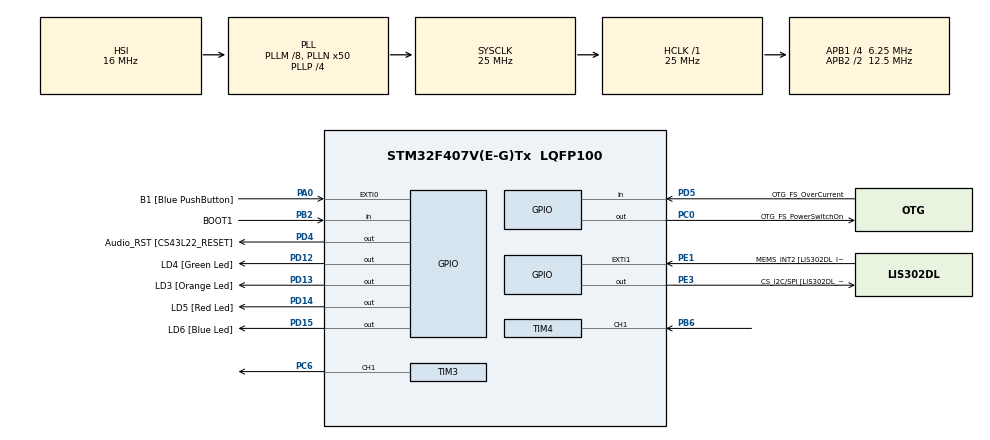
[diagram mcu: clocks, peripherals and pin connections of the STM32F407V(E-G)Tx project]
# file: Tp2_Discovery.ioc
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Mcu.Family=STM32F4
Mcu.Name=STM32F407V(E-G)Tx
Mcu.Package=LQFP100
NVIC.PriorityGroup=NVIC_PRIORITYGROUP_0
NVIC.TIM2_IRQn=true\:0\:0\:false\:false\:true\:true\:true\:true
NVIC.TIM4_IRQn=true\:0\:0\:false\:false\:true\:true\:true\:true
PA0-WKUP.GPIO_Label=B1 [Blue PushButton]
PA0-WKUP.Signal=GPXTI0
PA10.GPIO_Label=OTG_FS_ID
PA10.GPIO_Mode=GPIO_MODE_AF_PP
PA10.GPIO_PuPd=GPIO_NOPULL
PA10.GPIO_Speed=GPIO_SPEED_FREQ_LOW
PA10.Signal=USB_OTG_FS_ID
PA11.GPIO_Label=OTG_FS_DM
PA11.GPIO_Mode=GPIO_MODE_AF_PP
PA11.GPIO_PuPd=GPIO_NOPULL
PA11.GPIO_Speed=GPIO_SPEED_FREQ_LOW
PA11.Signal=USB_OTG_FS_DM
PA12.GPIO_Label=OTG_FS_DP
PA12.GPIO_Mode=GPIO_MODE_AF_PP
PA12.GPIO_PuPd=GPIO_NOPULL
PA12.GPIO_Speed=GPIO_SPEED_FREQ_LOW
PA12.Signal=USB_OTG_FS_DP
PA13.GPIO_Label=SWDIO
PA13.Mode=Serial_Wire
PA13.Signal=SYS_JTMS-SWDIO
PA14.GPIO_Label=SWCLK
PA14.Mode=Serial_Wire
PA14.Signal=SYS_JTCK-SWCLK
PA4.GPIO_Label=I2S3_WS [CS43L22_LRCK]
PA4.GPIO_Mode=GPIO_MODE_AF_PP
PA4.GPIO_PuPd=GPIO_NOPULL
PA4.GPIO_Speed=GPIO_SPEED_FREQ_LOW
PA4.Signal=I2S3_WS
PA5.GPIO_Label=SPI1_SCK [LIS302DL_SCL/SPC]
PA5.GPIO_Mode=GPIO_MODE_AF_PP
PA5.GPIO_PuPd=GPIO_NOPULL
PA5.GPIO_Speed=GPIO_SPEED_FREQ_LOW
PA5.Signal=SPI1_SCK
PA6.GPIO_Label=SPI1_MISO [LIS302DL_SDO]
PA6.GPIO_Mode=GPIO_MODE_AF_PP
PA6.GPIO_PuPd=GPIO_NOPULL
PA6.GPIO_Speed=GPIO_SPEED_FREQ_LOW
PA6.Signal=SPI1_MISO
PA7.GPIO_Label=SPI1_MOSI [LIS302DL_SDA/SDI/SDO]
PA7.GPIO_Mode=GPIO_MODE_AF_PP
PA7.GPIO_PuPd=GPIO_NOPULL
PA7.GPIO_Speed=GPIO_SPEED_FREQ_LOW
PA7.Signal=SPI1_MOSI
PA9.GPIO_Label=VBUS_FS
PA9.GPIO_Mode=GPIO_MODE_INPUT
PA9.GPIO_PuPd=GPIO_NOPULL
PA9.Signal=USB_OTG_FS_VBUS
PB10.GPIO_Label=CLK_IN [MP45DT02_CLK]
PB10.GPIO_Mode=GPIO_MODE_AF_PP
PB10.GPIO_PuPd=GPIO_NOPULL
PB10.GPIO_Speed=GPIO_SPEED_FREQ_LOW
PB10.Signal=I2S2_CK
PB2.GPIO_Label=BOOT1
PB2.GPIO_Mode=GPIO_MODE_INPUT
PB2.GPIO_PuPd=GPIO_NOPULL
PB2.Signal=GPIO_Input
PB3.GPIO_Label=SWO
PB3.Signal=SYS_JTDO-SWO
PB6.Signal=S_TIM4_CH1
PB9.GPIO_Label=Audio_SDA [CS43L22_SDA]
PB9.GPIO_Mode=GPIO_MODE_AF_OD
PB9.GPIO_PuPd=GPIO_NOPULL
PB9.GPIO_Speed=GPIO_SPEED_FREQ_LOW
PB9.Signal=I2C1_SDA
PC0.GPIO_Label=OTG_FS_PowerSwitchOn
PC0.GPIO_PuPd=GPIO_NOPULL
PC0.GPIO_Speed=GPIO_SPEED_FREQ_LOW
PC0.PinState=GPIO_PIN_SET
PC0.Signal=GPIO_Output
PC10.GPIO_Label=I2S3_SCK [CS43L22_SCLK]
PC10.GPIO_Mode=GPIO_MODE_AF_PP
PC10.GPIO_PuPd=GPIO_NOPULL
PC10.GPIO_Speed=GPIO_SPEED_FREQ_LOW
PC10.Signal=I2S3_CK
PC12.GPIO_Label=I2S3_SD [CS43L22_SDIN]
PC12.GPIO_Mode=GPIO_MODE_AF_PP
PC12.GPIO_PuPd=GPIO_NOPULL
PC12.GPIO_Speed=GPIO_SPEED_FREQ_LOW
PC12.Signal=I2S3_SD
PC14-OSC32_IN.GPIO_Label=PC14-OSC32_IN
PC14-OSC32_IN.Signal=RCC_OSC32_IN
PC15-OSC32_OUT.GPIO_Label=PC15-OSC32_OUT
PC15-OSC32_OUT.Signal=RCC_OSC32_OUT
PC3.GPIO_Label=PDM_OUT [MP45DT02_DOUT]
PC3.GPIO_Mode=GPIO_MODE_AF_PP
PC3.GPIO_PuPd=GPIO_NOPULL
PC3.GPIO_Speed=GPIO_SPEED_FREQ_LOW
PC3.Signal=I2S2_SD
PC6.Signal=S_TIM3_CH1
PC7.GPIO_Label=I2S3_MCK [CS43L22_MCLK]
PC7.GPIO_Mode=GPIO_MODE_AF_PP
PC7.GPIO_PuPd=GPIO_NOPULL
PC7.GPIO_Speed=GPIO_SPEED_FREQ_LOW
PC7.Signal=I2S3_MCK
PD12.GPIO_Label=LD4 [Green Led]
PD12.GPIO_PuPd=GPIO_NOPULL
PD12.GPIO_Speed=GPIO_SPEED_FREQ_LOW
PD12.Signal=GPIO_Output
PD13.GPIO_Label=LD3 [Orange Led]
PD13.GPIO_PuPd=GPIO_NOPULL
PD13.GPIO_Speed=GPIO_SPEED_FREQ_LOW
PD13.Signal=GPIO_Output
PD14.GPIO_Label=LD5 [Red Led]
PD14.GPIO_PuPd=GPIO_NOPULL
PD14.GPIO_Speed=GPIO_SPEED_FREQ_LOW
PD14.Signal=GPIO_Output
PD15.GPIO_Label=LD6 [Blue Led]
PD15.GPIO_PuPd=GPIO_NOPULL
PD15.GPIO_Speed=GPIO_SPEED_FREQ_LOW
PD15.Signal=GPIO_Output
PD4.GPIO_Label=Audio_RST [CS43L22_RESET]
PD4.GPIO_PuPd=GPIO_NOPULL
PD4.GPIO_Speed=GPIO_SPEED_FREQ_LOW
PD4.Signal=GPIO_Output
PD5.GPIO_Label=OTG_FS_OverCurrent
PD5.GPIO_Mode=GPIO_MODE_INPUT
PD5.GPIO_PuPd=GPIO_NOPULL
PD5.Signal=GPIO_Input
PE1.GPIO_Label=MEMS_INT2 [LIS302DL_INT2]
PE1.GPIO_ModeDefaultEXTI=GPIO_MODE_EVT_RISING
PE1.GPIO_PuPd=GPIO_NOPULL
PE1.Signal=GPXTI1
PE3.GPIO_Label=CS_I2C/SPI [LIS302DL_CS_I2C/SPI]
PE3.GPIO_PuPd=GPIO_NOPULL
PE3.GPIO_Speed=GPIO_SPEED_FREQ_LOW
PE3.Signal=GPIO_Output
PH0-OSC_IN.GPIO_Label=PH0-OSC_IN
PH0-OSC_IN.Signal=RCC_OSC_IN
PH1-OSC_OUT.GPIO_Label=PH1-OSC_OUT
PH1-OSC_OUT.Signal=RCC_OSC_OUT
ProjectManager.HeapSize=0x200
ProjectManager.StackSize=0x400
ProjectManager.TargetToolchain=STM32CubeIDE
RCC.48MHZClocksFreq_Value=14285714.285714285
RCC.AHBFreq_Value=25000000
RCC.APB1CLKDivider=RCC_HCLK_DIV4
RCC.APB1Freq_Value=6250000
RCC.APB1TimFreq_Value=12500000
RCC.APB2CLKDivider=RCC_HCLK_DIV2
RCC.APB2Freq_Value=12500000
RCC.APB2TimFreq_Value=25000000
RCC.CortexFreq_Value=25000000
RCC.HCLKFreq_Value=25000000
RCC.HSE_VALUE=8000000
RCC.HSI_VALUE=16000000
RCC.LSE_VALUE=32768
RCC.PLLM=8
RCC.PLLN=50
RCC.PLLP=RCC_PLLP_DIV4
RCC.PLLQ=7
RCC.SYSCLKFreq_VALUE=25000000
RCC.SYSCLKSource=RCC_SYSCLKSOURCE_PLLCLK
RCC.VCOOutputFreq_Value=100000000
SH.S_TIM3_CH1.0=TIM3_CH1,PWM Generation1 CH1
SH.S_TIM4_CH1.0=TIM4_CH1,Input_Capture1_from_TI1
TIM2.Period=4999
TIM2.Prescaler=1249
TIM3.Channel-PWM\ Generation1\ CH1=TIM_CHANNEL_1
TIM3.Period=99
TIM3.Prescaler=124
TIM4.Channel-Input_Capture1_from_TI1=TIM_CHANNEL_1
TIM4.ICPolarity_CH1=TIM_INPUTCHANNELPOLARITY_FALLING
TIM4.Prescaler=12499
VP_TIM2_VS_ClockSourceINT.Mode=Internal
VP_TIM3_VS_ClockSourceINT.Mode=Internal
VP_TIM4_VS_ClockSourceINT.Mode=Internal
board=STM32F407G-DISC1

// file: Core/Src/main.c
/* USER CODE BEGIN Header */
/**
  ******************************************************************************
  * @file           : main.c
  * @brief          : Main program body
  ******************************************************************************
  * @attention
  *
  * Copyright (c) 2026 STMicroelectronics.
  * All rights reserved.
  *
  * This software is licensed under terms that can be found in the LICENSE file
  * in the root directory of this software component.
  * If no LICENSE file comes with this software, it is provided AS-IS.
  *
  ******************************************************************************
  */
/* USER CODE END Header */
#include "main.h"
#include "tim.h"
#include "gpio.h"

/* USER CODE BEGIN PV */
volatile uint32_t t_presionado_ms = 0;
/* USER CODE END PV */

void SystemClock_Config(void);
/* USER CODE BEGIN PFP */
void Dimmer_Task(void);
/* USER CODE END PFP */

int main(void)
{

  /* MCU Configuration--------------------------------------------------------*/

  /* Reset of all peripherals, Initializes the Flash interface and the Systick. */
  HAL_Init();

  /* Configure the system clock */
  SystemClock_Config();

  /* Initialize all configured peripherals */
  MX_GPIO_Init();
  MX_TIM2_Init();
  MX_TIM3_Init();
  MX_TIM4_Init();
  /* USER CODE BEGIN 2 */
  HAL_TIM_Base_Start_IT(&htim2); // Parte 1
  HAL_TIM_PWM_Start(&htim3, TIM_CHANNEL_1); // Parte 2
  HAL_TIM_IC_Start_IT(&htim4, TIM_CHANNEL_1); // Parte 3
  /* USER CODE END 2 */

  /* Infinite loop */
  while (1)
  {

    /* USER CODE BEGIN 3 */
	  Dimmer_Task();
  }
  /* USER CODE END 3 */
}

void SystemClock_Config(void)
{
  RCC_OscInitTypeDef RCC_OscInitStruct = {0};
  RCC_ClkInitTypeDef RCC_ClkInitStruct = {0};

  /** Configure the main internal regulator output voltage
  */
  __HAL_RCC_PWR_CLK_ENABLE();
  __HAL_PWR_VOLTAGESCALING_CONFIG(PWR_REGULATOR_VOLTAGE_SCALE1);

  /** Initializes the RCC Oscillators according to the specified parameters
  * in the RCC_OscInitTypeDef structure.
  */
  RCC_OscInitStruct.OscillatorType = RCC_OSCILLATORTYPE_HSI;
  RCC_OscInitStruct.HSIState = RCC_HSI_ON;
  RCC_OscInitStruct.HSICalibrationValue = RCC_HSICALIBRATION_DEFAULT;
  RCC_OscInitStruct.PLL.PLLState = RCC_PLL_ON;
  RCC_OscInitStruct.PLL.PLLSource = RCC_PLLSOURCE_HSI;
  RCC_OscInitStruct.PLL.PLLM = 8;
  RCC_OscInitStruct.PLL.PLLN = 50;
  RCC_OscInitStruct.PLL.PLLP = RCC_PLLP_DIV4;
  RCC_OscInitStruct.PLL.PLLQ = 7;
  if (HAL_RCC_OscConfig(&RCC_OscInitStruct) != HAL_OK)
  {
    Error_Handler();
  }

  /** Initializes the CPU, AHB and APB buses clocks
  */
  RCC_ClkInitStruct.ClockType = RCC_CLOCKTYPE_HCLK|RCC_CLOCKTYPE_SYSCLK
                              |RCC_CLOCKTYPE_PCLK1|RCC_CLOCKTYPE_PCLK2;
  RCC_ClkInitStruct.SYSCLKSource = RCC_SYSCLKSOURCE_PLLCLK;
  RCC_ClkInitStruct.AHBCLKDivider = RCC_SYSCLK_DIV1;
  RCC_ClkInitStruct.APB1CLKDivider = RCC_HCLK_DIV4;
  RCC_ClkInitStruct.APB2CLKDivider = RCC_HCLK_DIV2;

  if (HAL_RCC_ClockConfig(&RCC_ClkInitStruct, FLASH_LATENCY_0) != HAL_OK)
  {
    Error_Handler();
  }
}

/* USER CODE BEGIN 4 */
void HAL_TIM_PeriodElapsedCallback(TIM_HandleTypeDef *htim) {
	if (htim->Instance == TIM2) {
		HAL_GPIO_TogglePin(GPIOD, LD3_Pin);
		HAL_GPIO_TogglePin(GPIOD, LD4_Pin);
		HAL_GPIO_TogglePin(GPIOD, LD5_Pin);
		HAL_GPIO_TogglePin(GPIOD, LD6_Pin);
	}
}

void Dimmer_Task(void) {
	static uint32_t t_dimmer = 0;
	static uint8_t duty = 0;
	static int8_t dir = 1; // 1: Aumenta Brillo, -1: Atenúa Brillo

	uint32_t now = HAL_GetTick();

	if ((now - t_dimmer) >= 5) {
		t_dimmer += 5;

		duty += dir;

		if (duty >= 99) {
			dir = -1;
		} else if (duty == 0) {
			dir = 1;
		}

		__HAL_TIM_SET_COMPARE(&htim3, TIM_CHANNEL_1, duty);
	}
}

void HAL_TIM_IC_CaptureCallback(TIM_HandleTypeDef *htim){
	if (htim->Instance == TIM4 && htim->Channel == HAL_TIM_ACTIVE_CHANNEL_1) {
		static uint32_t val_inicial = 0;
		static uint8_t esperando_liberacion = 0;

		if (!esperando_liberacion) {
			val_inicial = HAL_TIM_ReadCapturedValue(htim, TIM_CHANNEL_1); // Ocurrio un flanco de bajada

			__HAL_TIM_SET_CAPTUREPOLARITY(htim, TIM_CHANNEL_1, TIM_INPUTCHANNELPOLARITY_RISING); // Se cambia el flanco de lectura
			esperando_liberacion = 1;
		} else {
			uint32_t val_final = HAL_TIM_ReadCapturedValue(htim, TIM_CHANNEL_1); // Ocurrio un flanco de subida

			// Calcula la diferencia en ms considerando el desbordamiento
			if (val_final >= val_inicial) {
				t_presionado_ms = val_final - val_inicial;
			} else {
				t_presionado_ms = (65535 - val_inicial) + val_final;
			}

			// Volvemos a cambiar el flanco de lectura
			__HAL_TIM_SET_CAPTUREPOLARITY(htim, TIM_CHANNEL_1, TIM_INPUTCHANNELPOLARITY_FALLING);
			esperando_liberacion = 0;
		}
	}
}
/* USER CODE END 4 */

void Error_Handler(void)
{
  __disable_irq();
  while (1)
  {
  }
}
